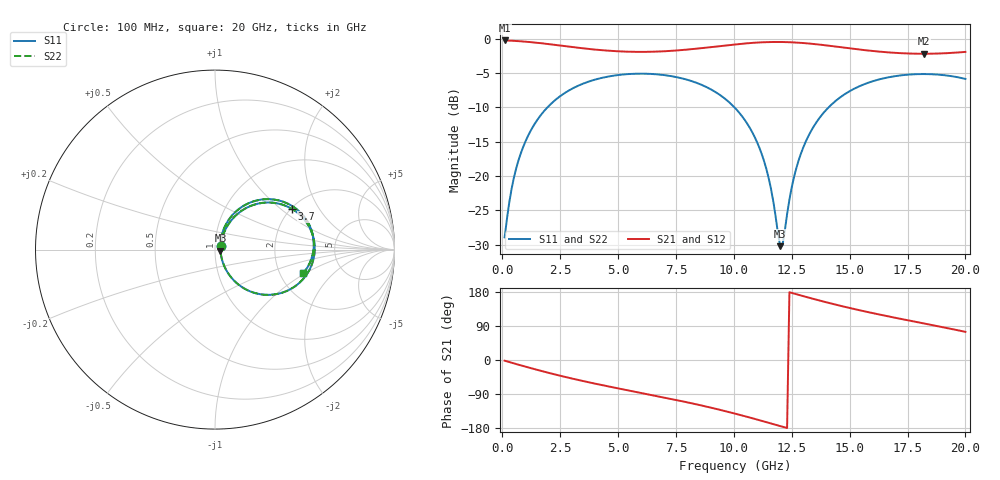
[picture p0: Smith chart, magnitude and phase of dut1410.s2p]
! Touchstone file exported from HFSS 2026.1.0
!  File:  C:/ffzhzh/LocalFiles/Ansys_Project_Files/temp_train_TSV_RDL_1410_1783352888_37376.aedt
!  Generated:  11:59:45 PM Jul  6, 2026
!  Design:  TSV_RDL
!  Project:  temp_train_TSV_RDL_1410_1783352888_37376
! Variables:
!  h_bsmrdl = 5.46um
!  h_ox = 20um
!  h_rdl = 5um
!  h_sub = 96.3um
!  h_tmrdl = 2.84um
!  h_tsv = 96.3um
!  h_via = 3um
!  l_bsmrdl = 635.22um
!  l_sub = 4534.57um
!  l_tmrdl = 538.2um
!  m_sub = 200um
!  pitch = 42.84um
!  r_tsv = 11.05um
!  s_tmrdl = 10um
!  w_bsmrdl = 10.79um
!  w_sub = 500um
!  w_tmrdl = 14.58um
!  x_tsv_center1 = 545.49um
!  x_tsv_center2 = 1191.5um
!  x_tsv_center3 = 1744.28um
!  x_tsv_center4 = 2390.29um
!  x_tsv_center5 = 2943.07um
!  x_tsv_center6 = 3589.08um
# GHz S MA R 50.000000
! Terminal data exported
! Port[1] = TM_RDL1_1_T1
! Port[2] = TM_RDL5_1_T1
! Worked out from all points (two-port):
!   200 points, 100 MHz to 20 GHz, reference 50 ohm
!   highest |S21| = -0.27 dB at 100 MHz (marker M1); lowest = -2.2 dB at 18.2 GHz (marker M2)
!   |S21| within 3 dB of the highest: start of sweep to end of sweep
!   lowest |S11| = -30.2 dB at 12 GHz (marker M3), VSWR 1.06, Z = 53.1 - j0.613 ohm
!   |S11| at or under -10 dB: start of sweep to 1.955 GHz; 10.02 GHz to 14.1 GHz (4.075 GHz wide, 33.8 % of centre)
!   |S22| runs from -30.2 to -5.1 dB; largest |S21 - S12| = 1.7e-14
!   S11 on the Smith chart (normalised r, x): 100 MHz: 1.06, +0.04; 3.7 GHz: 2.02, +1.20; 20 GHz: 2.68, -0.96
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0.1  0.03566 30.0  0.9695 -1.8  0.9695 -1.8  0.03566 30.0
! Gamma 0 0 0 0
! Port Impedance 50 0 50 0
0.5  0.09681 61.3  0.9632 -9.0  0.9632 -9.0  0.09681 61.3
1.2  0.2093 59.5  0.9437 -20.9  0.9437 -20.9  0.2093 59.5
2.2  0.3467 47.3  0.9037 -37.0  0.9037 -37.0  0.3467 47.3
3.5  0.4706 30.5  0.8492 -55.7  0.8492 -55.7  0.4706 30.5
3.7  0.4843 28.0  0.842 -58.4  0.842 -58.4  0.4843 28.0
5.3  0.5494 9.0  0.8043 -78.5  0.8043 -78.5  0.5494 9.0
6.8  0.5469 -8.3  0.806 -96.7  0.806 -96.7  0.5469 -8.3
8.6  0.461 -30.1  0.852 -120.0  0.852 -120.0  0.461 -30.0
10.1  0.3061 -49.7  0.909 -142.3  0.909 -142.3  0.3061 -49.7
10.8  0.2072 -58.1  0.931 -153.7  0.931 -153.7  0.2072 -58.1
11.3  0.129 -61.3  0.9412 -162.2  0.9412 -162.2  0.129 -61.2
11.6  0.08123 -58.1  0.9445 -167.4  0.9445 -167.4  0.0813 -58.0
12  0.03076 -10.8  0.9452 -174.3  0.9452 -174.3  0.031 -10.7
12.1  0.03124 19.4  0.9447 -176.1  0.9447 -176.1  0.03147 19.3
12.4  0.06721 60.6  0.9415 178.7  0.9415 178.7  0.06733 60.4
12.7  0.1142 66.8  0.936 173.6  0.936 173.6  0.1142 66.6
13.4  0.2218 62.8  0.9156 161.8  0.9156 161.8  0.2219 62.7
14.7  0.3847 46.6  0.8624 141.6  0.8624 141.6  0.3847 46.6
16.7  0.5235 22.2  0.7931 114.8  0.7931 114.8  0.5235 22.1
18.2  0.5519 5.3  0.7757 96.5  0.7757 96.5  0.5518 5.2
20  0.5086 -15.1  0.8002 74.3  0.8002 74.3  0.5086 -15.1
